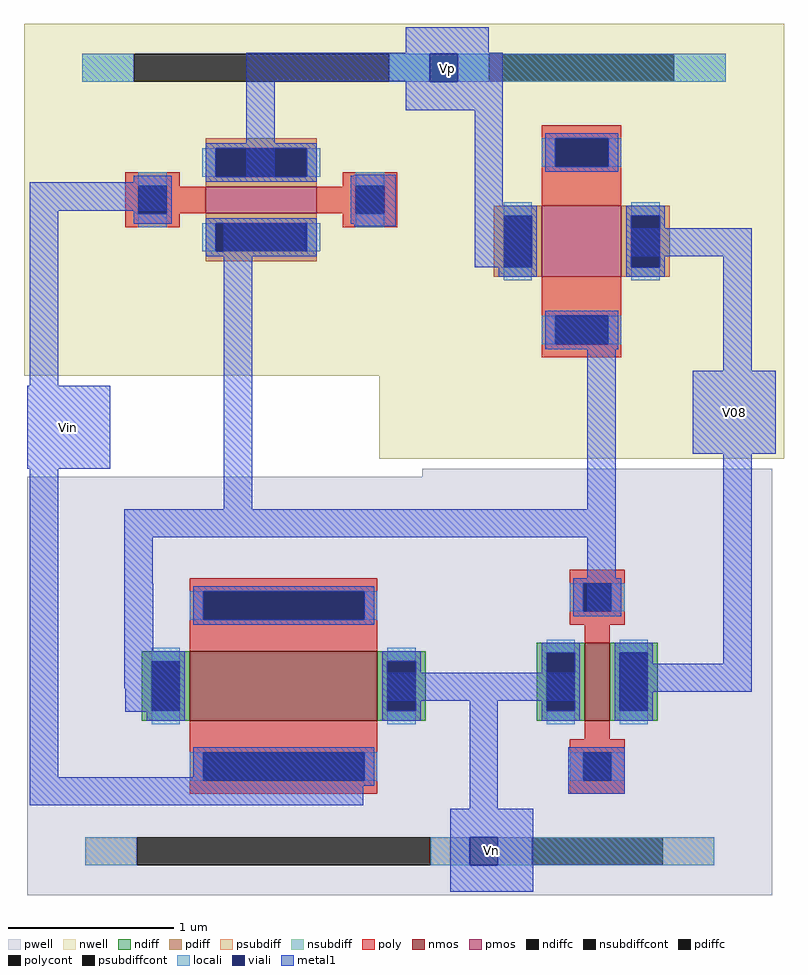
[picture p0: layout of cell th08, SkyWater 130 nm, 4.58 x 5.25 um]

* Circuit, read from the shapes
.subckt th08 Vp Vin V08 Vn
XM1 Vn Vin n1 Vn sky130_fd_pr__nfet_01v8 w=0.42 l=1.13
XM2 V08 n1 Vn Vn sky130_fd_pr__nfet_01v8 w=0.47 l=0.15
XM3 Vp Vin n1 Vp sky130_fd_pr__pfet_01v8 w=0.67 l=0.16
XM4 V08 n1 Vp Vp sky130_fd_pr__pfet_01v8 w=0.43 l=0.48
.ends

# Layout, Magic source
magic
tech sky130A
magscale 1 2
<< pwell >>
rect 478 -830 512 -770
rect 794 -818 988 -784
rect 1012 -930 1080 -874
<< nsubdiff >>
rect 849 -72 1183 -38
<< locali >>
rect 879 -72 1197 -38
rect 927 -1016 1169 -982
<< viali >>
rect 845 -72 879 -38
rect 893 -1016 927 -982
<< metal1 >>
rect 816 -37 916 -6
rect 624 -38 933 -37
rect 624 -71 845 -38
rect 624 -186 658 -71
rect 816 -72 845 -71
rect 879 -72 933 -38
rect 816 -106 933 -72
rect 363 -227 531 -193
rect 363 -438 397 -227
rect 597 -277 695 -243
rect 754 -246 804 -184
rect 899 -231 933 -106
rect 360 -538 460 -438
rect 363 -910 397 -538
rect 597 -587 631 -277
rect 899 -295 967 -231
rect 1088 -282 1233 -248
rect 995 -389 1069 -355
rect 1035 -587 1069 -389
rect 1199 -420 1233 -282
rect 1162 -520 1262 -420
rect 477 -621 1069 -587
rect 477 -677 511 -621
rect 477 -769 512 -677
rect 1035 -711 1069 -621
rect 477 -803 545 -769
rect 1075 -773 1109 -761
rect 1199 -773 1233 -520
rect 478 -831 545 -803
rect 793 -818 1021 -784
rect 1075 -807 1233 -773
rect 573 -910 765 -877
rect 363 -944 765 -910
rect 893 -948 927 -818
rect 1075 -831 1109 -807
rect 1012 -930 1080 -874
rect 870 -982 970 -948
rect 870 -1016 893 -982
rect 927 -1016 970 -982
rect 870 -1048 970 -1016
use sky130_fd_pr__nfet_01v8_JSJ4VK  XM0
transform 1 0 669 0 1 -800
box -309 -252 309 252
use sky130_fd_pr__pfet_01v8_EVXEQ2  XM1
transform 0 -1 642 1 0 -214
box -212 -286 212 286
use sky130_fd_pr__pfet_01v8_BBE9QE  XM2
transform 1 0 1028 0 1 -264
box -244 -262 244 262
use sky130_fd_pr__nfet_01v8_NCP4B2  XM3
transform 1 0 1047 0 1 -795
box -211 -257 211 257
<< labels >>
flabel metal1 360 -538 460 -438 0 FreeSans 256 0 0 0 Vin
port 1 nsew
flabel metal1 1162 -520 1262 -420 0 FreeSans 256 0 0 0 V08
port 2 nsew
flabel metal1 870 -1048 970 -948 0 FreeSans 256 0 0 0 Vn
port 3 nsew
flabel metal1 816 -106 916 -6 0 FreeSans 256 0 0 0 Vp
port 0 nsew
<< end >>

# cell sky130_fd_pr__nfet_01v8_JSJ4VK: kit device sky130_fd_pr__nfet_01v8, w 0.42 l 1.13 m 1 nf 1 diffcov 100 polycov 100 guard 1 glc 1 grc 1 gtc 1 gbc 1 tbcov 100 rlcov 100 topc 1 botc 1 poverlap 0 doverlap 1 lmin 0.15 wmin 0.42 compatible {sky130_fd_pr__nfet_01v8 sky130_fd_pr__nfet_01v8_lvt sky130_fd_bs_flash__special_sonosfet_star sky130_fd_pr__nfet_g5v0d10v5 sky130_fd_pr__nfet_05v0_nvt sky130_fd_pr__nfet_03v3_nvt} full_metal 1 viasrc 100 viadrn 100 viagate 100 viagb 0 viagr 0 viagl 0 viagt 0

# cell sky130_fd_pr__pfet_01v8_EVXEQ2: kit device sky130_fd_pr__pfet_01v8, w 0.668 l 0.16 m 1 nf 1 diffcov 100 polycov 100 guard 1 glc 1 grc 1 gtc 1 gbc 1 tbcov 100 rlcov 100 topc 1 botc 1 poverlap 0 doverlap 1 lmin 0.15 wmin 0.42 compatible {sky130_fd_pr__pfet_01v8 sky130_fd_pr__pfet_01v8_lvt sky130_fd_pr__pfet_01v8_hvt sky130_fd_pr__pfet_g5v0d10v5} full_metal 1 viasrc 100 viadrn 100 viagate 100 viagb 0 viagr 0 viagl 0 viagt 0

# cell sky130_fd_pr__pfet_01v8_BBE9QE: kit device sky130_fd_pr__pfet_01v8, w 0.43 l 0.48 m 1 nf 1 diffcov 100 polycov 100 guard 1 glc 1 grc 1 gtc 1 gbc 1 tbcov 100 rlcov 100 topc 1 botc 1 poverlap 0 doverlap 1 lmin 0.15 wmin 0.42 compatible {sky130_fd_pr__pfet_01v8 sky130_fd_pr__pfet_01v8_lvt sky130_fd_pr__pfet_01v8_hvt sky130_fd_pr__pfet_g5v0d10v5} full_metal 1 viasrc 100 viadrn 100 viagate 100 viagb 0 viagr 0 viagl 0 viagt 0

# cell sky130_fd_pr__nfet_01v8_NCP4B2: kit device sky130_fd_pr__nfet_01v8, w 0.468 l 0.15 m 1 nf 1 diffcov 100 polycov 100 guard 1 glc 1 grc 1 gtc 1 gbc 1 tbcov 100 rlcov 100 topc 1 botc 1 poverlap 0 doverlap 1 lmin 0.15 wmin 0.42 compatible {sky130_fd_pr__nfet_01v8 sky130_fd_pr__nfet_01v8_lvt sky130_fd_bs_flash__special_sonosfet_star sky130_fd_pr__nfet_g5v0d10v5 sky130_fd_pr__nfet_05v0_nvt sky130_fd_pr__nfet_03v3_nvt} full_metal 1 viasrc 100 viadrn 100 viagate 100 viagb 0 viagr 0 viagl 0 viagt 0
